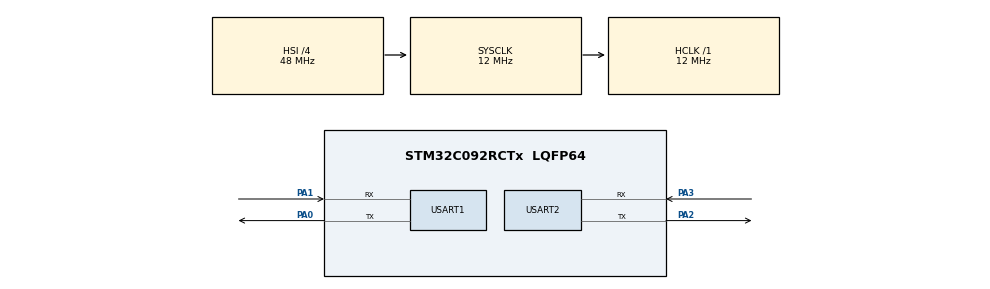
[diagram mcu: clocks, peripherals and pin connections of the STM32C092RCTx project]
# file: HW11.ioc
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Mcu.Family=STM32C0
Mcu.Name=STM32C092RCTx
Mcu.Package=LQFP64
NUCLEO-C092RC.BUTTON=1
NUCLEO-C092RC.LD1=true
NUCLEO-C092RC.LD2=true
NUCLEO-C092RC.VCP=false
NVIC.EXTI4_15_IRQn=true\:0\:0\:false\:false\:true\:false\:true\:true
NVIC.USART1_IRQn=true\:0\:0\:false\:false\:true\:true\:true\:true
NVIC.USART2_IRQn=true\:0\:0\:false\:false\:true\:true\:true\:true
PA0.Mode=Asynchronous
PA0.Signal=USART1_TX
PA1.Mode=Asynchronous
PA1.Signal=USART1_RX
PA13.GPIO_Label=SWDIO
PA13.Signal=DEBUG_SWDIO
PA14-BOOT0.GPIO_Label=SWCLK
PA14-BOOT0.Signal=DEBUG_SWCLK
PA2.Mode=Asynchronous
PA2.Signal=USART2_TX
PA3.Mode=Asynchronous
PA3.Signal=USART2_RX
PC14-OSCX_IN(PC14).GPIO_Label=OSCX_IN
PC14-OSCX_IN(PC14).Signal=RCC_OSCX_IN
PC15-OSCX_OUT(PC15).GPIO_Label=OSCX_OUT
PC15-OSCX_OUT(PC15).Signal=RCC_OSCX_OUT
PF0-OSC_IN(PF0).GPIO_Label=OSC_IN
PF0-OSC_IN(PF0).Signal=RCC_OSC_IN
PF1-OSC_OUT(PF1).GPIO_Label=OSC_OUT
PF1-OSC_OUT(PF1).Signal=RCC_OSC_OUT
ProjectManager.HeapSize=0x200
ProjectManager.StackSize=0x400
ProjectManager.TargetToolchain=STM32CubeIDE
RCC.ADCFreq_Value=12000000
RCC.AHBFreq_Value=12000000
RCC.CortexFreq_Value=12000000
RCC.EXTERNAL_CLOCK_VALUE=12288000
RCC.HCLKFreq_Value=12000000
RCC.HSE_VALUE=8000000
RCC.HSI_VALUE=48000000
RCC.LSE_VALUE=32768
RCC.SYSCLKFreq_VALUE=12000000
USART1.VirtualMode-Asynchronous=VM_ASYNC
USART1.WordLength=WORDLENGTH_8B
USART2.VirtualMode-Asynchronous=VM_ASYNC
USART2.WordLength=WORDLENGTH_8B
VP_NUCLEO-C092RC_VS_BSP_COMMON.Mode=COMMON
board=NUCLEO-C092RC

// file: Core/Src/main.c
/* testing main */
/**
  ******************************************************************************
  * @file           : main.c
  * @brief          : Main program body — interrupt-driven UART pass-through
  ******************************************************************************
  */
/* USER CODE END Header */
#include "main.h"

/* USER CODE BEGIN Includes */
#include <string.h>
#include <stdio.h>
/* USER CODE END Includes */

UART_HandleTypeDef huart1;
UART_HandleTypeDef huart2;

/* USER CODE BEGIN PV */
volatile uint8_t rx1_byte;   // single-byte landing spot for USART1 IT
volatile uint8_t rx2_byte;   // single-byte landing spot for USART2 IT

// Ring buffer: bytes from Pico (USART1) waiting to go to PC (USART2)
#define BUF_SIZE 256
volatile uint8_t buf1to2[BUF_SIZE];
volatile uint16_t head1to2 = 0, tail1to2 = 0;

// Ring buffer: bytes from PC (USART2) waiting to go to Pico (USART1)
volatile uint8_t buf2to1[BUF_SIZE];
volatile uint16_t head2to1 = 0, tail2to1 = 0;
/* USER CODE END PV */

void SystemClock_Config(void);
static void MX_GPIO_Init(void);
static void MX_USART1_UART_Init(void);
static void MX_USART2_UART_Init(void);

/* USER CODE BEGIN 0 */
#include <stdio.h>
int __io_putchar(int ch)
{
    HAL_UART_Transmit(&huart2, (uint8_t*)&ch, 1, 100);
    return ch;
}
/* USER CODE END 0 */

int main(void)
{

  /* MCU Configuration--------------------------------------------------------*/

  /* Reset of all peripherals, Initializes the Flash interface and the Systick. */
  HAL_Init();

  /* Configure the system clock */
  SystemClock_Config();

  /* Initialize all configured peripherals */
  MX_GPIO_Init();
  MX_USART1_UART_Init();
  MX_USART2_UART_Init();
  /* USER CODE BEGIN 2 */

  // Send greeting on the PC's VCP so you know the STM32 booted
  char greeting[] = "STM32 ready - pass-through active\r\n";
  HAL_UART_Transmit(&huart2, (uint8_t*)greeting, strlen(greeting), 100);

  // Arm interrupt-driven receive on both UARTs (1 byte at a time)
  HAL_UART_Receive_IT(&huart1, (uint8_t*)&rx1_byte, 1);
  HAL_UART_Receive_IT(&huart2, (uint8_t*)&rx2_byte, 1);

  /* USER CODE END 2 */

  /* Infinite loop */
  /* USER CODE BEGIN WHILE */

	  while (1)
	  {
	    // Drain buf1to2 -> send to PC (USART2)
	    if (head1to2 != tail1to2)
	    {
	      uint8_t b = buf1to2[tail1to2];
	      tail1to2 = (tail1to2 + 1) % BUF_SIZE;
	      HAL_UART_Transmit(&huart2, &b, 1, 100);
	    }

	    // Drain buf2to1 -> send to Pico (USART1)
	    if (head2to1 != tail2to1)
	    {
	      uint8_t b = buf2to1[tail2to1];
	      tail2to1 = (tail2to1 + 1) % BUF_SIZE;
	      HAL_UART_Transmit(&huart1, &b, 1, 100);
	    }
  }
}

void SystemClock_Config(void)
{
  RCC_OscInitTypeDef RCC_OscInitStruct = {0};
  RCC_ClkInitTypeDef RCC_ClkInitStruct = {0};

  __HAL_FLASH_SET_LATENCY(FLASH_LATENCY_0);

  RCC_OscInitStruct.OscillatorType = RCC_OSCILLATORTYPE_HSI;
  RCC_OscInitStruct.HSIState = RCC_HSI_ON;
  RCC_OscInitStruct.HSIDiv = RCC_HSI_DIV4;
  RCC_OscInitStruct.HSICalibrationValue = RCC_HSICALIBRATION_DEFAULT;
  if (HAL_RCC_OscConfig(&RCC_OscInitStruct) != HAL_OK)
  {
    Error_Handler();
  }

  RCC_ClkInitStruct.ClockType = RCC_CLOCKTYPE_HCLK|RCC_CLOCKTYPE_SYSCLK
                              |RCC_CLOCKTYPE_PCLK1;
  RCC_ClkInitStruct.SYSCLKSource = RCC_SYSCLKSOURCE_HSI;
  RCC_ClkInitStruct.SYSCLKDivider = RCC_SYSCLK_DIV1;
  RCC_ClkInitStruct.AHBCLKDivider = RCC_HCLK_DIV1;
  RCC_ClkInitStruct.APB1CLKDivider = RCC_APB1_DIV1;

  if (HAL_RCC_ClockConfig(&RCC_ClkInitStruct, FLASH_LATENCY_0) != HAL_OK)
  {
    Error_Handler();
  }
}

static void MX_USART1_UART_Init(void)
{
  huart1.Instance = USART1;
  huart1.Init.BaudRate = 115200;
  huart1.Init.WordLength = UART_WORDLENGTH_8B;
  huart1.Init.StopBits = UART_STOPBITS_1;
  huart1.Init.Parity = UART_PARITY_NONE;
  huart1.Init.Mode = UART_MODE_TX_RX;
  huart1.Init.HwFlowCtl = UART_HWCONTROL_NONE;
  huart1.Init.OverSampling = UART_OVERSAMPLING_16;
  huart1.Init.OneBitSampling = UART_ONE_BIT_SAMPLE_DISABLE;
  huart1.Init.ClockPrescaler = UART_PRESCALER_DIV1;
  huart1.AdvancedInit.AdvFeatureInit = UART_ADVFEATURE_NO_INIT;
  if (HAL_UART_Init(&huart1) != HAL_OK)
  {
    Error_Handler();
  }
  if (HAL_UARTEx_SetTxFifoThreshold(&huart1, UART_TXFIFO_THRESHOLD_1_8) != HAL_OK)
  {
    Error_Handler();
  }
  if (HAL_UARTEx_SetRxFifoThreshold(&huart1, UART_RXFIFO_THRESHOLD_1_8) != HAL_OK)
  {
    Error_Handler();
  }
  if (HAL_UARTEx_DisableFifoMode(&huart1) != HAL_OK)
  {
    Error_Handler();
  }
}

static void MX_USART2_UART_Init(void)
{
  huart2.Instance = USART2;
  huart2.Init.BaudRate = 115200;
  huart2.Init.WordLength = UART_WORDLENGTH_8B;
  huart2.Init.StopBits = UART_STOPBITS_1;
  huart2.Init.Parity = UART_PARITY_NONE;
  huart2.Init.Mode = UART_MODE_TX_RX;
  huart2.Init.HwFlowCtl = UART_HWCONTROL_NONE;
  huart2.Init.OverSampling = UART_OVERSAMPLING_16;
  huart2.Init.OneBitSampling = UART_ONE_BIT_SAMPLE_DISABLE;
  huart2.Init.ClockPrescaler = UART_PRESCALER_DIV1;
  huart2.AdvancedInit.AdvFeatureInit = UART_ADVFEATURE_NO_INIT;
  if (HAL_UART_Init(&huart2) != HAL_OK)
  {
    Error_Handler();
  }
}

static void MX_GPIO_Init(void)
{
  __HAL_RCC_GPIOC_CLK_ENABLE();
  __HAL_RCC_GPIOF_CLK_ENABLE();
  __HAL_RCC_GPIOA_CLK_ENABLE();
}

/* USER CODE BEGIN 4 */

/**
  * @brief  UART RX complete callback — fires whenever a byte arrives on either UART.
  *         Forwards the byte to the other UART and re-arms the receive.
  */
void HAL_UART_RxCpltCallback(UART_HandleTypeDef *huart)
{
  if (huart->Instance == USART1)
  {
    // Byte from Pico -> store in buf1to2
    uint16_t next = (head1to2 + 1) % BUF_SIZE;
    if (next != tail1to2) {              // only store if buffer not full
      buf1to2[head1to2] = rx1_byte;
      head1to2 = next;
    }
    HAL_UART_Receive_IT(&huart1, (uint8_t*)&rx1_byte, 1);  // re-arm
  }
  else if (huart->Instance == USART2)
  {
    // Byte from PC -> store in buf2to1
    uint16_t next = (head2to1 + 1) % BUF_SIZE;
    if (next != tail2to1) {
      buf2to1[head2to1] = rx2_byte;
      head2to1 = next;
    }
    HAL_UART_Receive_IT(&huart2, (uint8_t*)&rx2_byte, 1);  // re-arm
  }
}

/**
  * @brief  UART error callback — clears errors and re-arms receive so we don't get stuck.
  */
void HAL_UART_ErrorCallback(UART_HandleTypeDef *huart)
{
  if (huart->Instance == USART1)
  {
    HAL_UART_Receive_IT(&huart1, (uint8_t*)&rx1_byte, 1);
  }
  else if (huart->Instance == USART2)
  {
    HAL_UART_Receive_IT(&huart2, (uint8_t*)&rx2_byte, 1);
  }
}

/* USER CODE END 4 */

void Error_Handler(void)
{
  __disable_irq();
  while (1)
  {
  }
}
